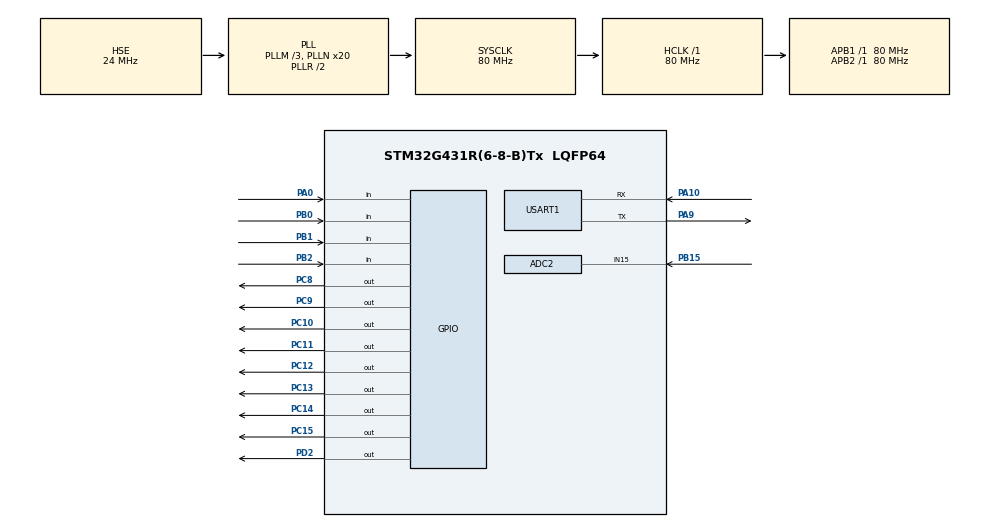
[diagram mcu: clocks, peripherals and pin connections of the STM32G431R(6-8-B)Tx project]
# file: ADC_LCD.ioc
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ADC2.Channel-0\#ChannelRegularConversion=ADC_CHANNEL_15
ADC2.NbrOfConversionFlag=1
ADC2.OffsetNumber-0\#ChannelRegularConversion=ADC_OFFSET_NONE
ADC2.Rank-0\#ChannelRegularConversion=1
ADC2.SamplingTime-0\#ChannelRegularConversion=ADC_SAMPLETIME_2CYCLES_5
Mcu.Family=STM32G4
Mcu.Name=STM32G431R(6-8-B)Tx
Mcu.Package=LQFP64
NVIC.PriorityGroup=NVIC_PRIORITYGROUP_4
PA0.GPIO_PuPd=GPIO_PULLUP
PA0.Signal=GPIO_Input
PA10.Mode=Asynchronous
PA10.Signal=USART1_RX
PA13.Mode=Serial_Wire
PA13.Signal=SYS_JTMS-SWDIO
PA14.Mode=Serial_Wire
PA14.Signal=SYS_JTCK-SWCLK
PA9.Mode=Asynchronous
PA9.Signal=USART1_TX
PB0.GPIO_PuPd=GPIO_PULLUP
PB0.Signal=GPIO_Input
PB1.GPIO_PuPd=GPIO_PULLUP
PB1.Signal=GPIO_Input
PB15.Mode=IN15-Single-Ended
PB15.Signal=ADC2_IN15
PB2.GPIO_PuPd=GPIO_PULLUP
PB2.Signal=GPIO_Input
PC10.Signal=GPIO_Output
PC11.Signal=GPIO_Output
PC12.Signal=GPIO_Output
PC13.Signal=GPIO_Output
PC14-OSC32_IN.Signal=GPIO_Output
PC15-OSC32_OUT.Signal=GPIO_Output
PC8.Signal=GPIO_Output
PC9.Signal=GPIO_Output
PD2.Signal=GPIO_Output
PF0-OSC_IN.Mode=HSE-External-Oscillator
PF0-OSC_IN.Signal=RCC_OSC_IN
PF1-OSC_OUT.Mode=HSE-External-Oscillator
PF1-OSC_OUT.Signal=RCC_OSC_OUT
ProjectManager.HeapSize=0x200
ProjectManager.StackSize=0x400
ProjectManager.TargetToolchain=MDK-ARM V5
RCC.ADC12Freq_Value=80000000
RCC.AHBFreq_Value=80000000
RCC.APB1Freq_Value=80000000
RCC.APB1TimFreq_Value=80000000
RCC.APB2Freq_Value=80000000
RCC.APB2TimFreq_Value=80000000
RCC.CortexFreq_Value=80000000
RCC.EXTERNAL_CLOCK_VALUE=12288000
RCC.HCLKFreq_Value=80000000
RCC.HSE_VALUE=24000000
RCC.HSI48_VALUE=48000000
RCC.HSI_VALUE=16000000
RCC.LSE_VALUE=32768
RCC.PLLM=RCC_PLLM_DIV3
RCC.PLLN=20
RCC.PLLSourceVirtual=RCC_PLLSOURCE_HSE
RCC.SYSCLKFreq_VALUE=80000000
RCC.SYSCLKSource=RCC_SYSCLKSOURCE_PLLCLK
RCC.USBFreq_Value=80000000
RCC.VCOOutputFreq_Value=160000000
USART1.VirtualMode-Asynchronous=VM_ASYNC
VP_SYS_VS_DBSignals.Mode=DisableDeadBatterySignals
board=custom

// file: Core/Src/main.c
/* USER CODE BEGIN Header */
/**
  ******************************************************************************
  * @file           : main.c
  * @brief          : Main program body
  ******************************************************************************
  * @attention
  *
  * Copyright (c) 2025 STMicroelectronics.
  * All rights reserved.
  *
  * This software is licensed under terms that can be found in the LICENSE file
  * in the root directory of this software component.
  * If no LICENSE file comes with this software, it is provided AS-IS.
  *
  ******************************************************************************
  */
/* USER CODE END Header */
#include "main.h"
#include "adc.h"
#include "usart.h"
#include "gpio.h"

/* USER CODE BEGIN Includes */
#include "lcd.h"
#include <stdio.h>
#include "string.h"
/* USER CODE END Includes */

/* USER CODE BEGIN PD */
#define UNLOCKLED       HAL_GPIO_WritePin(GPIOD,GPIO_PIN_2,GPIO_PIN_SET)  //��
#define LOCKLED         HAL_GPIO_WritePin(GPIOD,GPIO_PIN_2,GPIO_PIN_RESET)
/* USER CODE END PD */

/* USER CODE BEGIN PV */
u32 uwTick_Lcd;
u32 uwTick_Key;
u32 uwTick_Adc;
u32 blink_timer;
uint8_t blink_state = 0;
volatile uint8_t blink_mask = 0x01;
volatile uint8_t blink_mask1 = 0x02;
uint8_t enable_blink = 0;
u8 KeyValue;
u8 KeyState;
int  count2=0;
int  count3=0;
int  count4=0;
int  LcdState=1;
int  select=1;
int upper_lcd=1;
int lower_lcd=2;
char LineString[1000];
char LineString1[1000];
char LineString2[1000];
char LineString3[1000];
char LineString4[1000];
char buffer[20];
char *text="Main";
char *text1="Setting";
char *upper="Status: Upper";
char *lower="Status: Lower";
double voltage=0;
double voltage_max=2.4;
double voltage_min=1.2;
/* USER CODE END PV */

void SystemClock_Config(void);
/* USER CODE BEGIN PFP */
void Lcd_Pro(void);
void Key_Pro(void);
void lcd_middledisplay(u8 Line, char* sources);
void Adc_Pro(void);
void App_Low4Blink(int interval);
void LED_Disp(volatile uint8_t Led_num);
/* USER CODE END PFP */

int main(void)
{

  /* MCU Configuration--------------------------------------------------------*/

  /* Reset of all peripherals, Initializes the Flash interface and the Systick. */
  HAL_Init();

  /* USER CODE BEGIN Init */
	LCD_Init();
	LCD_Clear(White);

  /* USER CODE END Init */

  /* Configure the system clock */
  SystemClock_Config();

  /* Initialize all configured peripherals */
  MX_GPIO_Init();
  MX_ADC2_Init();
  MX_USART1_UART_Init();

  /* Infinite loop */
  /* USER CODE BEGIN WHILE */
  while (1)
  {
			uint8_t blink_led = 0;
			Lcd_Pro();
			Key_Pro();
			Adc_Pro();

			if(voltage>voltage_max){
				App_Low4Blink(200);
				blink_led = blink_state ? blink_mask : 0;
			}else if(voltage<voltage_min){
				App_Low4Blink(200);
				blink_led = blink_state ? blink_mask1 : 0;
			}

				LED_Disp(blink_led);

    /* USER CODE END WHILE */

  }
}

void SystemClock_Config(void)
{
  RCC_OscInitTypeDef RCC_OscInitStruct = {0};
  RCC_ClkInitTypeDef RCC_ClkInitStruct = {0};

  /** Configure the main internal regulator output voltage
  */
  HAL_PWREx_ControlVoltageScaling(PWR_REGULATOR_VOLTAGE_SCALE1);

  /** Initializes the RCC Oscillators according to the specified parameters
  * in the RCC_OscInitTypeDef structure.
  */
  RCC_OscInitStruct.OscillatorType = RCC_OSCILLATORTYPE_HSE;
  RCC_OscInitStruct.HSEState = RCC_HSE_ON;
  RCC_OscInitStruct.PLL.PLLState = RCC_PLL_ON;
  RCC_OscInitStruct.PLL.PLLSource = RCC_PLLSOURCE_HSE;
  RCC_OscInitStruct.PLL.PLLM = RCC_PLLM_DIV3;
  RCC_OscInitStruct.PLL.PLLN = 20;
  RCC_OscInitStruct.PLL.PLLP = RCC_PLLP_DIV2;
  RCC_OscInitStruct.PLL.PLLQ = RCC_PLLQ_DIV2;
  RCC_OscInitStruct.PLL.PLLR = RCC_PLLR_DIV2;
  if (HAL_RCC_OscConfig(&RCC_OscInitStruct) != HAL_OK)
  {
    Error_Handler();
  }

  /** Initializes the CPU, AHB and APB buses clocks
  */
  RCC_ClkInitStruct.ClockType = RCC_CLOCKTYPE_HCLK|RCC_CLOCKTYPE_SYSCLK
                              |RCC_CLOCKTYPE_PCLK1|RCC_CLOCKTYPE_PCLK2;
  RCC_ClkInitStruct.SYSCLKSource = RCC_SYSCLKSOURCE_PLLCLK;
  RCC_ClkInitStruct.AHBCLKDivider = RCC_SYSCLK_DIV1;
  RCC_ClkInitStruct.APB1CLKDivider = RCC_HCLK_DIV1;
  RCC_ClkInitStruct.APB2CLKDivider = RCC_HCLK_DIV1;

  if (HAL_RCC_ClockConfig(&RCC_ClkInitStruct, FLASH_LATENCY_2) != HAL_OK)
  {
    Error_Handler();
  }
}

/* USER CODE BEGIN 4 */
void Lcd_Pro(void){
		if((uwTick-uwTick_Lcd)<200)return;
		uwTick_Lcd=uwTick;
		switch(LcdState){
			case 1:
				lcd_middledisplay(Line1, text);
				sprintf((char *)LineString,"Volt: %.2fV",voltage);
				lcd_middledisplay(Line3, LineString);
				if(voltage>voltage_max){lcd_middledisplay(Line4, upper);}
				else if(voltage<voltage_min){lcd_middledisplay(Line4, lower);}
				else{LCD_ClearLine(Line4);}
				break;
			case 2:

				switch (select){
					case 1:

						sprintf((char *)LineString1,"Volt: %.2fV",voltage_max);
						LCD_HighlightLineDefault(Line2, (char *)LineString1);
						lcd_middledisplay(Line1, text1);

						sprintf((char *)LineString,"Volt: %.2fV",voltage_min);
						lcd_middledisplay(Line3, LineString);
						sprintf((char *)LineString,"Upper: LD%d",upper_lcd);
						lcd_middledisplay(Line4, LineString);
						sprintf((char *)LineString,"Lower: LD%d",lower_lcd);
						lcd_middledisplay(Line5, LineString);
						break;
					case 2:

						sprintf((char *)LineString2,"Volt: %.2fV",voltage_min);
						LCD_HighlightLineDefault(Line3, (char *)LineString2);
						lcd_middledisplay(Line1, text1);
						sprintf((char *)LineString,"Volt: %.2fV",voltage_max);
						lcd_middledisplay(Line2, LineString);

						sprintf((char *)LineString,"Upper: LD%d",upper_lcd);
						lcd_middledisplay(Line4, LineString);
						sprintf((char *)LineString,"Lower: LD%d",lower_lcd);
						lcd_middledisplay(Line5, LineString);
								break;
					case 3:

						sprintf((char *)LineString3,"Upper: LD%d",upper_lcd);
						LCD_HighlightLineDefault(Line4, (char *)LineString3);
						lcd_middledisplay(Line1, text1);
						sprintf((char *)LineString,"Volt: %.2fV",voltage_max);
						lcd_middledisplay(Line2, LineString);
						sprintf((char *)LineString,"Volt: %.2fV",voltage_min);
						lcd_middledisplay(Line3, LineString);

						sprintf((char *)LineString,"Lower: LD%d",lower_lcd);
						lcd_middledisplay(Line5, LineString);
						break;
					case 4:

						sprintf((char *)LineString4,"Lower: LD%d",lower_lcd);
						LCD_HighlightLineDefault(Line5, (char *)LineString4);
						lcd_middledisplay(Line1, text1);
						sprintf((char *)LineString,"Volt: %.2fV",voltage_max);
						lcd_middledisplay(Line2, LineString);
						sprintf((char *)LineString,"Volt: %.2fV",voltage_min);
						lcd_middledisplay(Line3, LineString);
						sprintf((char *)LineString,"Upper: LD%d",upper_lcd);
						lcd_middledisplay(Line4, LineString);

						break;
					default:
						break;
				}
			break;
			default:
				break;
		}
}
void Key_Pro(void){
		if((uwTick-uwTick_Key)<10)return;
		uwTick_Key=uwTick;
		KeyValue= key_scanf();
		if(KeyValue==1){
			KeyState=1;

		}else if(KeyValue==2){
			KeyState=2;
		}else if(KeyValue==3){
			KeyState=3;
		}else if(KeyValue==4){
			KeyState=4;
		}
		switch(KeyState){
			case 1:
				LcdState++;
				LCD_Clear(White);
				if(LcdState>2)LcdState=1;
				KeyState=0;
				break;
			case 2:
				select++;

				if(select>4){
					select=1;
				}
				KeyState=0;
				break;
			case 3:
				if(select==1&&LcdState==2){
				voltage_max+=0.3;
				}
				if(select==2&&LcdState==2){
				voltage_min+=0.3;
				}
				if(select==3&&LcdState==2){
					upper_lcd++;
					blink_mask=blink_mask<<1;
					if(upper_lcd==lower_lcd){
						upper_lcd++;
						blink_mask=blink_mask<<1;
					}
				}
				if(select==4&&LcdState==2){
				lower_lcd++;
				blink_mask1=blink_mask1<<1;
				if(lower_lcd==upper_lcd){
						lower_lcd++;
						blink_mask1=blink_mask1<<1;
				}
				}
				if(voltage_max>3.3){
					voltage_max-=0.3;
				}
				if(voltage_min>3.3){
					voltage_min-=0.3;
				}
				if(upper_lcd>8){
					upper_lcd=1;
					blink_mask=0x01;
				}
				if(lower_lcd>8){
					lower_lcd=1;
					blink_mask1=0x01;
				}
				if(lower_lcd==upper_lcd){
						lower_lcd++;
						blink_mask1=blink_mask1<<1;
				}
				KeyState=0;
				break;
			case 4:
				if(select==1&&LcdState==2){
				voltage_max-=0.3;
				}
				if(select==2&&LcdState==2){
				voltage_min-=0.3;
				}
				if(select==3&&LcdState==2)
				{
				upper_lcd--;
				blink_mask=blink_mask>>1;
				if(upper_lcd==lower_lcd){
					upper_lcd--;
					blink_mask=blink_mask>>1;
				}
				}
				if(select==4&&LcdState==2)
				{
				lower_lcd--;
				blink_mask1=blink_mask1>>1;
				if(upper_lcd==lower_lcd){
					lower_lcd--;
					blink_mask1=blink_mask1>>1;
				}
				}
				if(lower_lcd<1){
				lower_lcd=8;
				blink_mask1=0x80;
				}
				if(upper_lcd<1){
				upper_lcd=8;
				blink_mask=0x80;
				}
				if(voltage_max<0){
					voltage_max+=0.3;
				}
				if(voltage_min<0){
					voltage_min+=0.3;
				}
				if(upper_lcd==lower_lcd){
					upper_lcd--;
					blink_mask=blink_mask>>1;
				}
				KeyState=0;
				break;
			default:
				break;
		}
}

void lcd_middledisplay(u8 Line, char* sources)
{
    int paddling = (20 - strlen(sources)) / 2;
    snprintf(buffer, 20, "%*s%s%*s", paddling, "", sources,paddling, "");
    LCD_DisplayStringLine(Line, (u8*)buffer);
}
void Adc_Pro(void){
		if((uwTick-uwTick_Adc)<200)return;
		uwTick_Adc=uwTick;
		HAL_ADC_Start(&hadc2);
		HAL_ADC_PollForConversion(&hadc2,1000);
		voltage=HAL_ADC_GetValue(&hadc2)*3.3/4096;
}
void App_Low4Blink(int interval)
{

    if (uwTick - blink_timer < interval) {
        return;
    }
    blink_timer = uwTick;
    blink_state ^= 1;

}
void LED_Disp(volatile uint8_t Led_num)
{

    HAL_GPIO_WritePin(GPIOC,GPIO_PIN_13|GPIO_PIN_14|GPIO_PIN_15|GPIO_PIN_8|GPIO_PIN_9|GPIO_PIN_10|GPIO_PIN_11|GPIO_PIN_12,GPIO_PIN_SET);
    UNLOCKLED;
    LOCKLED;

    HAL_GPIO_WritePin(GPIOC,Led_num<<8,GPIO_PIN_RESET);
    UNLOCKLED;
    LOCKLED;
}
/* USER CODE END 4 */

void Error_Handler(void)
{
  __disable_irq();
  while (1)
  {
  }
}
